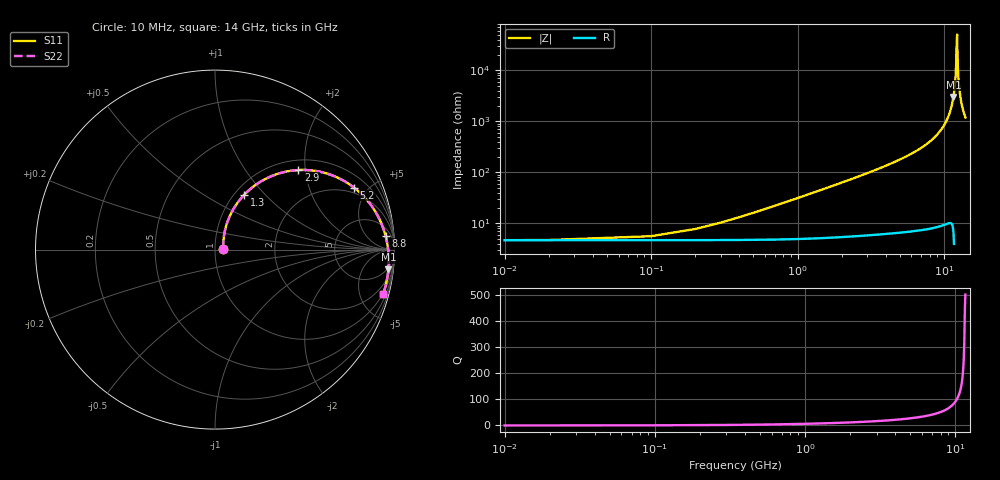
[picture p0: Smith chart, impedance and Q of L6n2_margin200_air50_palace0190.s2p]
! Created with skrf 2.2.0 (http://scikit-rf.org).
# GHz S DB R 50.0
! Port[1] = P1
! Port[2] = P2
!freq dBS11 angS11 dBS21 angS21 dBS12 angS12 dBS22 angS22
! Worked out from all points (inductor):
!   142 points, 10 MHz to 14 GHz, reference 50 ohm
!   read as one part in series: L = 4.91 nH near 500 MHz
!   highest Q = 439 at 11.6 GHz (marker M1), where L = 41.5 nH
!   self-resonance near 12.2 GHz
!   S11 on the Smith chart (normalised r, x): 10 MHz: 1.09, +0.01; 1.3 GHz: 1.11, +0.77; 2.9 GHz: 1.22, +1.84; 5.2 GHz: 1.65, +4.06; 8.8 GHz: 11, +18; 14 GHz: 0.93, -7.58
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0.01  -26.97 3.3  -0.40 -0.2  -0.40 -0.2  -26.97 3.3
0.6  -15.41 65.8  -0.58 -10.7  -0.58 -10.7  -15.42 65.8
1.3  -9.19 61.9  -1.09 -22.1  -1.09 -22.1  -9.20 61.9
2.4  -4.92 49.1  -2.35 -37.5  -2.35 -37.5  -4.92 49.1
2.9  -3.84 43.6  -3.05 -43.4  -3.05 -43.4  -3.84 43.6
4.7  -1.74 27.6  -5.93 -60.5  -5.93 -60.5  -1.75 27.6
5.2  -1.43 24.0  -6.80 -64.2  -6.80 -64.2  -1.43 24.0
7.1  -0.71 12.7  -10.48 -76.1  -10.48 -76.1  -0.71 12.7
8.8  -0.41 4.6  -14.64 -84.5  -14.64 -84.5  -0.41 4.6
9.4  -0.35 2.0  -16.51 -87.2  -16.51 -87.2  -0.35 2.0
10.8  -0.26 -3.5  -22.77 -93.0  -22.77 -93.0  -0.27 -3.5
11.6  -0.24 -6.5  -29.88 -96.3  -29.88 -96.3  -0.24 -6.5
11.7  -0.24 -6.8  -31.33 -96.7  -31.33 -96.7  -0.24 -6.8
12  -0.24 -7.9  -38.06 -98.2  -38.06 -98.2  -0.24 -7.9
12.1  -0.24 -8.3  -42.30 -99.0  -42.30 -99.0  -0.24 -8.3
12.2  -0.24 -8.6  -50.82 -101.2  -50.82 -101.2  -0.24 -8.6
12.3  -0.24 -9.0  -54.38 85.8  -54.38 85.8  -0.24 -9.0
12.4  -0.24 -9.3  -43.53 82.3  -43.53 82.3  -0.24 -9.3
12.5  -0.24 -9.7  -38.87 81.4  -38.87 81.4  -0.24 -9.7
12.7  -0.24 -10.4  -33.65 80.3  -33.65 80.3  -0.24 -10.4
13.2  -0.25 -12.1  -27.16 78.3  -27.16 78.3  -0.25 -12.1
14  -0.27 -14.8  -21.96 75.4  -21.96 75.4  -0.28 -14.8
